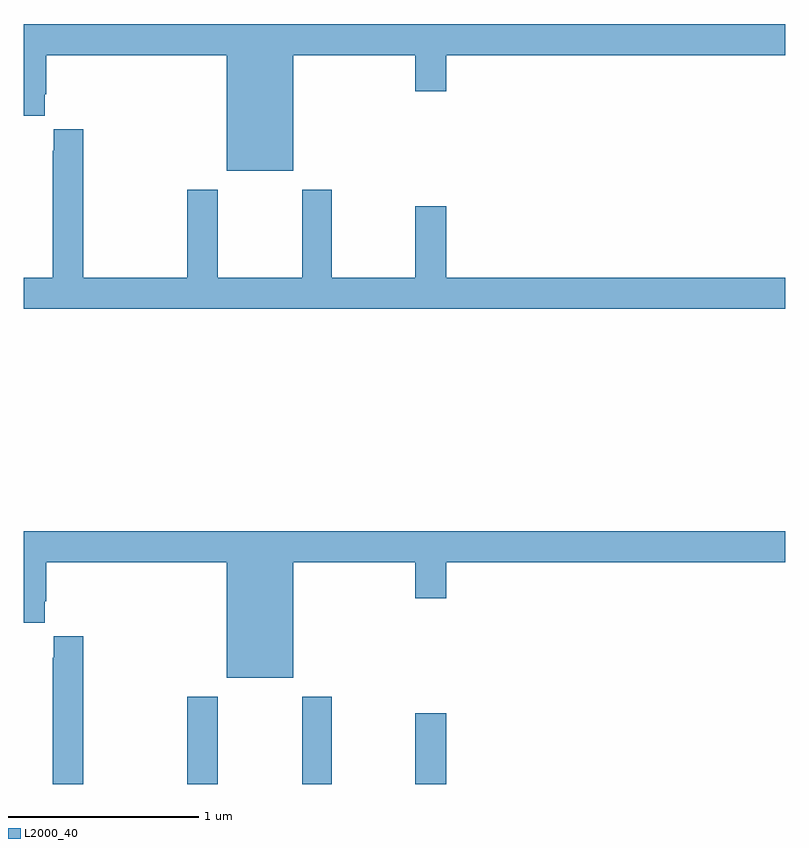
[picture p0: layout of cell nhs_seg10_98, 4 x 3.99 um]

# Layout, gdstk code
import gdstk
lib = gdstk.Library(unit=1e-6, precision=1e-09)
def R(c, l, rs):  # rectangles x0, y0, x1, y1
    for r in rs: c.add(gdstk.rectangle(r[:2], r[2:], *l))
def P(c, l, *ps):  # polygons
    for p in ps: c.add(gdstk.Polygon(p, *l))
L2000_40 = (2000, 40)

nhs_seg10_98 = lib.new_cell('nhs_seg10_98')
R(nhs_seg10_98, L2000_40, [(115.859,1284.5,116.019,1284.958), (116.464,1284.5,116.619,1284.958), (117.056,1284.5,117.22,1284.871)])
P(nhs_seg10_98, L2000_40, [(116.416,1288.328),(117.056,1288.328),(117.056,1288.14),(117.22,1288.14),(117.22,1288.328),(119,1288.328),(119,1288.492),(115,1288.492),(115,1288.011),(115.111,1288.011),(115.111,1288.123),(115.118,1288.123),(115.118,1288.328),(116.066,1288.328),(116.066,1287.722),(116.416,1287.722)],
  [(119,1287.16),(117.22,1287.16),(117.22,1287.535),(117.056,1287.535),(117.056,1287.16),(116.619,1287.16),(116.619,1287.622),(116.464,1287.622),(116.464,1287.16),(116.019,1287.16),(116.019,1287.622),(115.859,1287.622),(115.859,1287.16),(115.313,1287.16),(115.313,1287.94),(115.157,1287.94),(115.157,1287.827),(115.153,1287.827),(115.153,1287.16),(115,1287.16),(115,1286.996),(119,1286.996)],
  [(116.416,1285.664),(117.056,1285.664),(117.056,1285.476),(117.22,1285.476),(117.22,1285.664),(119,1285.664),(119,1285.828),(115,1285.828),(115,1285.347),(115.111,1285.347),(115.111,1285.459),(115.118,1285.459),(115.118,1285.664),(116.066,1285.664),(116.066,1285.058),(116.416,1285.058)],
  [(115.313,1285.276),(115.157,1285.276),(115.157,1285.163),(115.153,1285.163),(115.153,1284.5),(115.313,1284.5)])

lib.write_gds('nhs_seg10_98.gds')
